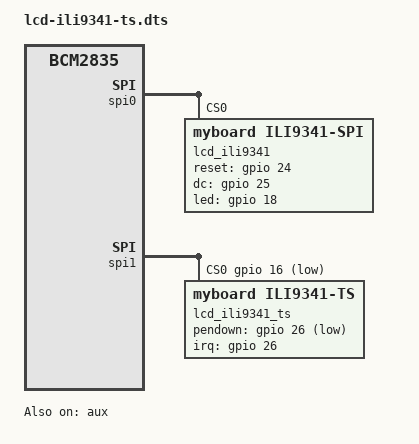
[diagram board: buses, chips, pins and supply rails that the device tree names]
/dts-v1/;
/plugin/;

/ {
	compatible = "brcm,bcm2835";

	fragment@0 {
		target = <&gpio>;
		__overlay__ {
			lcd_ili9341_pins: lcd_ili9341_pins {
				brcm,pins = <18 24 25 26>;  /* led rst dc  irq */
				brcm,function = <1 1 1 0>;  /* out out out in  */
				brcm,pull = <0 0 0 2>;      /* -   -   -   up  */
			};
			spi1_pins: spi1_pins {
				brcm,pins = <19 20 21>;
				brcm,function = <3>; /* alt4 */
			};
			spi1_cs_pins: spi1_cs_pins {
				brcm,pins = <16>;
				brcm,function = <1>; /* output */
			};
		};
	};

	fragment@1 {
		target = <&spidev0>;
		__overlay__ {
			status = "disabled";
		};
	};

	fragment@2 {
		target = <&spidev1>;
		__overlay__ {
			status = "disabled";
		};
	};

	fragment@3 {
		target = <&spi0>;
		__overlay__ {
			/* needed to avoid dtc warning */
			#address-cells = <1>;
			#size-cells = <0>;

			status = "okay";

			lcd_ili9341: lcd_ili9341@0{
				compatible = "myboard,ili9341-spi";
				reg = <0>;
				pinctrl-names = "default";
				pinctrl-0 = <&lcd_ili9341_pins>;

				reset-gpios = <&gpio 24 0>;
				dc-gpios = <&gpio 25 0>;
				led-gpios = <&gpio 18 0>;
			};
		};
	};

	fragment@4 {
		target = <&spi1>;
		__overlay__ {
			/* needed to avoid dtc warning */
			#address-cells = <1>;
			#size-cells = <0>;

			pinctrl-names = "default";
			pinctrl-0 = <&spi1_pins &spi1_cs_pins>;
			cs-gpios = <&gpio 16 1>;

			lcd_ili9341_ts: lcd-ili9341-ts@0 {
				compatible = "myboard,ili9341-ts";
				reg = <0>;
				interrupts = <26 2>; /* high-to-low edge triggered */
				interrupt-parent = <&gpio>;
				pendown-gpio = <&gpio 26 1>;
			};
		};
	};

	fragment@5 {
		target = <&aux>;
		__overlay__ {
			status = "okay";
		};
	};

};


